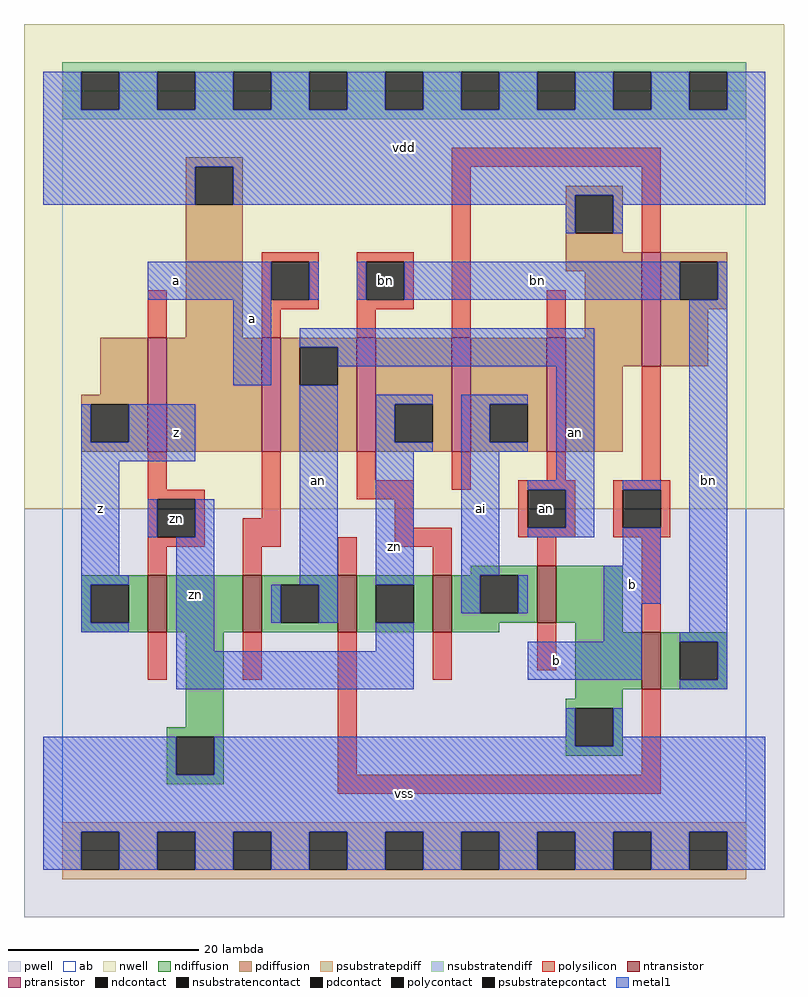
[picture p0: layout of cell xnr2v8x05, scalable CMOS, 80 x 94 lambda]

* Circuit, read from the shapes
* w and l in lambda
.subckt xnr2v8x05 a ai an b bn vdd vss z zn
M1 vss zn z vss nfet w=6 l=2
M2 an a vss vss nfet w=6 l=2
M3 zn b an vss nfet w=6 l=2
M4 ai bn zn vss nfet w=6 l=2
M5 vss an ai vss nfet w=6 l=2
M6 bn b vss vss nfet w=6 l=2
M7 vdd zn z vdd pfet w=12 l=2
M8 an a vdd vdd pfet w=12 l=2
M9 zn bn an vdd pfet w=12 l=2
M10 ai b zn vdd pfet w=12 l=2
M11 vdd an ai vdd pfet w=12 l=2
M12 bn b vdd vdd pfet w=12 l=2
.ends

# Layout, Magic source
magic
tech scmos
<< ab >>
rect 0 0 72 80
<< pwell >>
rect -4 -7 76 36
<< nwell >>
rect -4 36 76 87
<< polysilicon >>
rect 9 54 11 59
rect 41 72 63 74
rect 21 62 27 63
rect 21 58 22 62
rect 26 58 27 62
rect 21 57 27 58
rect 31 62 37 63
rect 31 58 32 62
rect 36 58 37 62
rect 31 57 37 58
rect 21 54 23 57
rect 31 54 33 57
rect 41 54 43 72
rect 61 63 63 72
rect 51 54 53 59
rect 9 38 11 42
rect 9 37 15 38
rect 9 33 10 37
rect 14 33 15 37
rect 21 35 23 42
rect 31 39 33 42
rect 31 37 37 39
rect 41 38 43 42
rect 51 39 53 42
rect 61 39 63 51
rect 48 38 54 39
rect 9 32 15 33
rect 19 32 23 35
rect 35 34 37 37
rect 48 34 49 38
rect 53 34 54 38
rect 9 29 11 32
rect 19 29 21 32
rect 29 29 31 33
rect 35 32 41 34
rect 48 33 54 34
rect 58 38 64 39
rect 58 34 59 38
rect 63 34 64 38
rect 58 33 64 34
rect 39 29 41 32
rect 50 30 52 33
rect 9 18 11 23
rect 19 18 21 23
rect 29 8 31 23
rect 39 18 41 23
rect 50 19 52 24
rect 61 23 63 33
rect 61 8 63 17
rect 29 6 63 8
<< ndiffusion >>
rect 43 29 50 30
rect 2 28 9 29
rect 2 24 3 28
rect 7 24 9 28
rect 2 23 9 24
rect 11 23 19 29
rect 21 28 29 29
rect 21 24 23 28
rect 27 24 29 28
rect 21 23 29 24
rect 31 28 39 29
rect 31 24 33 28
rect 37 24 39 28
rect 31 23 39 24
rect 41 25 44 29
rect 48 25 50 29
rect 41 24 50 25
rect 52 24 59 30
rect 41 23 46 24
rect 13 13 17 23
rect 11 12 17 13
rect 11 8 12 12
rect 16 8 17 12
rect 11 7 17 8
rect 54 23 59 24
rect 54 17 61 23
rect 63 22 70 23
rect 63 18 65 22
rect 69 18 70 22
rect 63 17 70 18
rect 54 16 59 17
rect 53 15 59 16
rect 53 11 54 15
rect 58 11 59 15
rect 53 10 59 11
<< pdiffusion >>
rect 13 72 19 73
rect 13 68 14 72
rect 18 68 19 72
rect 13 54 19 68
rect 53 69 59 70
rect 53 65 54 69
rect 58 65 59 69
rect 53 63 59 65
rect 53 61 61 63
rect 55 54 61 61
rect 4 48 9 54
rect 2 47 9 48
rect 2 43 3 47
rect 7 43 9 47
rect 2 42 9 43
rect 11 42 21 54
rect 23 53 31 54
rect 23 49 25 53
rect 29 49 31 53
rect 23 42 31 49
rect 33 47 41 54
rect 33 43 35 47
rect 39 43 41 47
rect 33 42 41 43
rect 43 47 51 54
rect 43 43 45 47
rect 49 43 51 47
rect 43 42 51 43
rect 53 51 61 54
rect 63 62 70 63
rect 63 58 65 62
rect 69 58 70 62
rect 63 57 70 58
rect 63 51 68 57
rect 53 42 59 51
<< metal1 >>
rect -2 78 2 82
rect 6 78 10 82
rect 14 78 18 82
rect 22 78 26 82
rect 30 78 34 82
rect 38 78 42 82
rect 46 78 50 82
rect 54 78 58 82
rect 62 78 66 82
rect 70 78 74 82
rect -2 72 74 78
rect -2 68 14 72
rect 18 69 74 72
rect 18 68 54 69
rect 53 65 54 68
rect 58 68 74 69
rect 58 65 59 68
rect 9 58 22 62
rect 26 58 27 62
rect 31 58 32 62
rect 36 58 65 62
rect 69 58 70 62
rect 18 49 22 58
rect 25 53 56 55
rect 29 51 56 53
rect 2 43 3 47
rect 7 43 14 47
rect 2 41 14 43
rect 2 29 6 41
rect 9 33 10 37
rect 14 33 16 37
rect 2 28 7 29
rect 2 24 3 28
rect 2 23 7 24
rect 12 21 16 33
rect 25 28 29 49
rect 22 24 23 28
rect 27 24 29 28
rect 33 47 39 48
rect 33 43 35 47
rect 33 42 39 43
rect 42 47 49 48
rect 42 43 45 47
rect 42 42 49 43
rect 33 28 37 42
rect 42 29 46 42
rect 52 39 56 51
rect 49 38 56 39
rect 53 34 56 38
rect 49 33 56 34
rect 59 38 63 39
rect 59 30 63 34
rect 42 25 44 29
rect 48 25 49 29
rect 57 26 63 30
rect 33 21 37 24
rect 57 22 61 26
rect 66 23 70 58
rect 12 17 37 21
rect 49 18 61 22
rect 65 22 70 23
rect 69 18 70 22
rect 65 17 70 18
rect 53 12 54 15
rect -2 8 12 12
rect 16 11 54 12
rect 58 12 59 15
rect 58 11 74 12
rect 16 8 74 11
rect -2 2 74 8
rect -2 -2 2 2
rect 6 -2 10 2
rect 14 -2 18 2
rect 22 -2 26 2
rect 30 -2 34 2
rect 38 -2 42 2
rect 46 -2 50 2
rect 54 -2 58 2
rect 62 -2 66 2
rect 70 -2 74 2
<< ntransistor >>
rect 9 23 11 29
rect 19 23 21 29
rect 29 23 31 29
rect 39 23 41 29
rect 50 24 52 30
rect 61 17 63 23
<< ptransistor >>
rect 9 42 11 54
rect 21 42 23 54
rect 31 42 33 54
rect 41 42 43 54
rect 51 42 53 54
rect 61 51 63 63
<< polycontact >>
rect 22 58 26 62
rect 32 58 36 62
rect 10 33 14 37
rect 49 34 53 38
rect 59 34 63 38
<< ndcontact >>
rect 3 24 7 28
rect 23 24 27 28
rect 33 24 37 28
rect 44 25 48 29
rect 12 8 16 12
rect 65 18 69 22
rect 54 11 58 15
<< pdcontact >>
rect 14 68 18 72
rect 54 65 58 69
rect 3 43 7 47
rect 25 49 29 53
rect 35 43 39 47
rect 45 43 49 47
rect 65 58 69 62
<< psubstratepcontact >>
rect 2 -2 6 2
rect 10 -2 14 2
rect 18 -2 22 2
rect 26 -2 30 2
rect 34 -2 38 2
rect 42 -2 46 2
rect 50 -2 54 2
rect 58 -2 62 2
rect 66 -2 70 2
<< nsubstratencontact >>
rect 2 78 6 82
rect 10 78 14 82
rect 18 78 22 82
rect 26 78 30 82
rect 34 78 38 82
rect 42 78 46 82
rect 50 78 54 82
rect 58 78 62 82
rect 66 78 70 82
<< psubstratepdiff >>
rect 0 2 72 3
rect 0 -2 2 2
rect 6 -2 10 2
rect 14 -2 18 2
rect 22 -2 26 2
rect 30 -2 34 2
rect 38 -2 42 2
rect 46 -2 50 2
rect 54 -2 58 2
rect 62 -2 66 2
rect 70 -2 72 2
rect 0 -3 72 -2
<< nsubstratendiff >>
rect 0 82 72 83
rect 0 78 2 82
rect 6 78 10 82
rect 14 78 18 82
rect 22 78 26 82
rect 30 78 34 82
rect 38 78 42 82
rect 46 78 50 82
rect 54 78 58 82
rect 62 78 66 82
rect 70 78 72 82
rect 0 77 72 78
<< labels >>
rlabel polycontact 12 35 12 35 6 zn
rlabel polycontact 34 60 34 60 6 bn
rlabel polycontact 51 36 51 36 6 an
rlabel metal1 4 36 4 36 6 z
rlabel metal1 14 27 14 27 6 zn
rlabel metal1 12 44 12 44 6 z
rlabel metal1 12 60 12 60 6 a
rlabel metal1 20 56 20 56 6 a
rlabel metal1 36 6 36 6 6 vss
rlabel metal1 27 39 27 39 6 an
rlabel metal1 35 32 35 32 6 zn
rlabel metal1 36 74 36 74 6 vdd
rlabel metal1 52 20 52 20 6 b
rlabel metal1 44 36 44 36 6 ai
rlabel metal1 54 44 54 44 6 an
rlabel metal1 60 28 60 28 6 b
rlabel metal1 68 39 68 39 6 bn
rlabel metal1 50 60 50 60 6 bn
<< end >>
